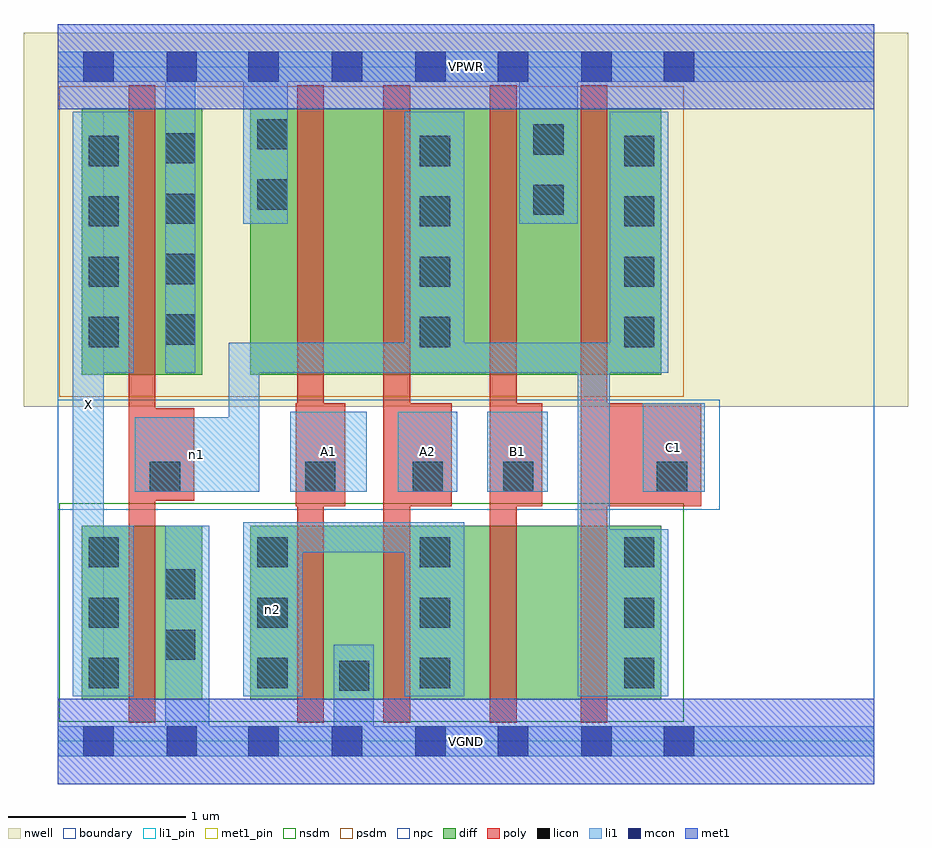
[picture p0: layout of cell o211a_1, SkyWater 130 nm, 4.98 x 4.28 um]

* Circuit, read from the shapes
.subckt o211a_1 A1 A2 B1 C1 VGND VPWR X n1 n2
XM1 VGND n1 X VSUBS sky130_fd_pr__nfet_01v8 w=0.98 l=0.15
XM2 VGND A1 n2 VSUBS sky130_fd_pr__nfet_01v8 w=0.98 l=0.15
XM3 n2 A2 VGND VSUBS sky130_fd_pr__nfet_01v8 w=0.98 l=0.15
XM4 n3 B1 n2 VSUBS sky130_fd_pr__nfet_01v8 w=0.98 l=0.15
XM5 n1 C1 n3 VSUBS sky130_fd_pr__nfet_01v8 w=0.98 l=0.15
XM6 VPWR n1 X n4 sky130_fd_pr__pfet_01v8 w=1.5 l=0.15
XM7 n5 A1 VPWR n4 sky130_fd_pr__pfet_01v8 w=1.5 l=0.15
XM8 n1 A2 n5 n4 sky130_fd_pr__pfet_01v8 w=1.5 l=0.15
XM9 VPWR B1 n1 n4 sky130_fd_pr__pfet_01v8 w=1.5 l=0.15
XM10 n1 C1 VPWR n4 sky130_fd_pr__pfet_01v8 w=1.5 l=0.15
.ends

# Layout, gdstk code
import gdstk
lib = gdstk.Library(unit=1e-6, precision=1e-09)
def R(c, l, rs):  # rectangles x0, y0, x1, y1
    for r in rs: c.add(gdstk.rectangle(r[:2], r[2:], *l))
def A(c, l, x, y, w, h, nx, ny, dx, dy):  # array of equal rectangles
    R(c, l, [(x+i*dx, y+j*dy, x+i*dx+w, y+j*dy+h) for i in range(nx) for j in range(ny)])
nwell = (64, 20)
diff = (65, 20)
poly = (66, 20)
licon = (66, 44)
li1_pin = (67, 16)
li1 = (67, 20)
mcon = (67, 44)
met1_pin = (68, 16)
met1 = (68, 20)
nsdm = (93, 44)
psdm = (94, 20)
npc = (95, 20)
boundary = (235, 4)

o211a_1 = lib.new_cell('o211a_1')
R(o211a_1, nwell, [(-0.19,1.885,4.79,3.99), (0,1.885,4.6,3.99)])
R(o211a_1, diff, [(0.135,0.235,0.815,1.215), (1.085,0.235,3.4,1.215), (0.135,2.065,0.815,3.565), (1.085,2.065,3.4,3.565)])
R(o211a_1, poly, [(0.4,0.105,0.55,3.695), (1.35,0.105,1.5,3.695), (1.835,0.105,1.985,3.695), (2.435,0.105,2.585,3.695), (2.945,0.105,3.095,3.695), (1.34,1.325,1.62,1.905), (1.835,1.325,2.22,1.905), (2.435,1.325,2.73,1.905), (2.945,1.325,3.625,1.905), (0.4,1.355,0.77,1.875)])
A(o211a_1, licon, 0.175, 0.3, 0.17, 0.17, 1, 3, 0, 0.34)
A(o211a_1, licon, 1.125, 0.3, 0.17, 0.17, 1, 3, 0, 0.34)
A(o211a_1, licon, 2.04, 0.3, 0.17, 0.17, 1, 3, 0, 0.34)
A(o211a_1, licon, 3.19, 0.3, 0.17, 0.17, 1, 3, 0, 0.34)
A(o211a_1, licon, 0.175, 2.22, 0.17, 0.17, 1, 4, 0, 0.34)
A(o211a_1, licon, 2.04, 2.22, 0.17, 0.17, 1, 4, 0, 0.34)
A(o211a_1, licon, 3.19, 2.22, 0.17, 0.17, 1, 4, 0, 0.34)
A(o211a_1, licon, 0.605, 2.235, 0.17, 0.17, 1, 4, 0, 0.34)
R(o211a_1, licon, [(1.585,0.285,1.755,0.455), (0.605,0.46,0.775,0.63), (0.605,0.8,0.775,0.97), (0.52,1.405,0.69,1.575), (1.395,1.405,1.565,1.575), (2,1.405,2.17,1.575), (2.51,1.405,2.68,1.575), (3.375,1.405,3.545,1.575), (2.68,2.965,2.85,3.135), (1.125,2.995,1.295,3.165), (2.68,3.305,2.85,3.475), (1.125,3.335,1.295,3.505)])
R(o211a_1, li1_pin, [(0.085,0.255,0.26,3.545), (1.31,1.405,1.74,1.855), (1.915,1.405,2.25,1.855), (2.42,1.405,2.76,1.855), (3.295,1.405,3.645,1.905)])
R(o211a_1, li1, [(0,-0.085,4.6,0.085), (0.605,-0.085,0.855,1.215), (1.555,-0.085,1.78,0.545), (0.085,0.255,0.26,3.545), (0.085,0.255,0.43,1.215), (1.045,0.255,1.38,1.235), (1.955,0.255,2.29,1.235), (2.93,0.255,3.44,1.195), (2.93,0.255,3.11,2.245), (1.045,1.065,2.29,1.235), (0.435,1.405,1.135,1.825), (0.965,1.405,1.135,2.245), (1.31,1.405,1.74,1.855), (1.915,1.405,2.25,1.855), (2.42,1.405,2.76,1.855), (3.295,1.405,3.645,1.905), (0.085,2.075,0.43,3.545), (0.605,2.075,0.775,3.885), (0.965,2.075,3.44,2.245), (1.955,2.075,2.29,3.545), (3.11,2.075,3.44,3.545), (1.045,2.915,1.295,3.885), (2.6,2.915,2.93,3.885), (0,3.715,4.6,3.885)])
A(o211a_1, mcon, 1.075, -0.085, 0.17, 0.17, 3, 2, 0.47, 3.8)
R(o211a_1, mcon, [(0.145,-0.085,0.315,0.085), (0.615,-0.085,0.785,0.085), (2.48,-0.085,2.65,0.085), (2.95,-0.085,3.12,0.085), (3.415,-0.085,3.585,0.085), (0.145,3.715,0.315,3.885), (0.615,3.715,0.785,3.885), (2.48,3.715,2.65,3.885), (2.95,3.715,3.12,3.885), (3.415,3.715,3.585,3.885)])
R(o211a_1, met1_pin, [(0,-0.24,4.6,0.24), (0,3.56,4.6,4.04)])
R(o211a_1, met1, [(0,-0.24,4.6,0.24), (0,3.56,4.6,4.04)])
R(o211a_1, nsdm, [(0.01,0.11,3.525,1.34)])
R(o211a_1, psdm, [(0.01,1.94,3.525,3.69)])
R(o211a_1, npc, [(0,1.305,3.73,1.925)])
R(o211a_1, boundary, [(0,0,4.6,3.8)])
o211a_1.add(gdstk.Label('A1', (1.525,1.63), layer=67, texttype=5))
o211a_1.add(gdstk.Label('A2', (2.082,1.63), layer=67, texttype=5))
o211a_1.add(gdstk.Label('B1', (2.59,1.63), layer=67, texttype=5))
o211a_1.add(gdstk.Label('C1', (3.47,1.655), layer=67, texttype=5))
o211a_1.add(gdstk.Label('X', (0.172,1.9), layer=67, texttype=5))
o211a_1.add(gdstk.Label('n2', (1.212,0.745), layer=67, texttype=5))
o211a_1.add(gdstk.Label('n1', (0.785,1.615), layer=67, texttype=5))
o211a_1.add(gdstk.Label('VPWR', (2.3,3.8), layer=68, texttype=5))
o211a_1.add(gdstk.Label('VGND', (2.3,0), layer=68, texttype=5))
o211a_1.add(gdstk.Label('A1', (1.525,1.63), layer=67, texttype=16))
o211a_1.add(gdstk.Label('A2', (2.082,1.63), layer=67, texttype=16))
o211a_1.add(gdstk.Label('B1', (2.59,1.63), layer=67, texttype=16))
o211a_1.add(gdstk.Label('C1', (3.47,1.655), layer=67, texttype=16))
o211a_1.add(gdstk.Label('X', (0.172,1.9), layer=67, texttype=16))
o211a_1.add(gdstk.Label('VPWR', (2.3,3.8), layer=68, texttype=16))
o211a_1.add(gdstk.Label('VGND', (2.3,0), layer=68, texttype=16))

lib.write_gds('o211a_1.gds')
